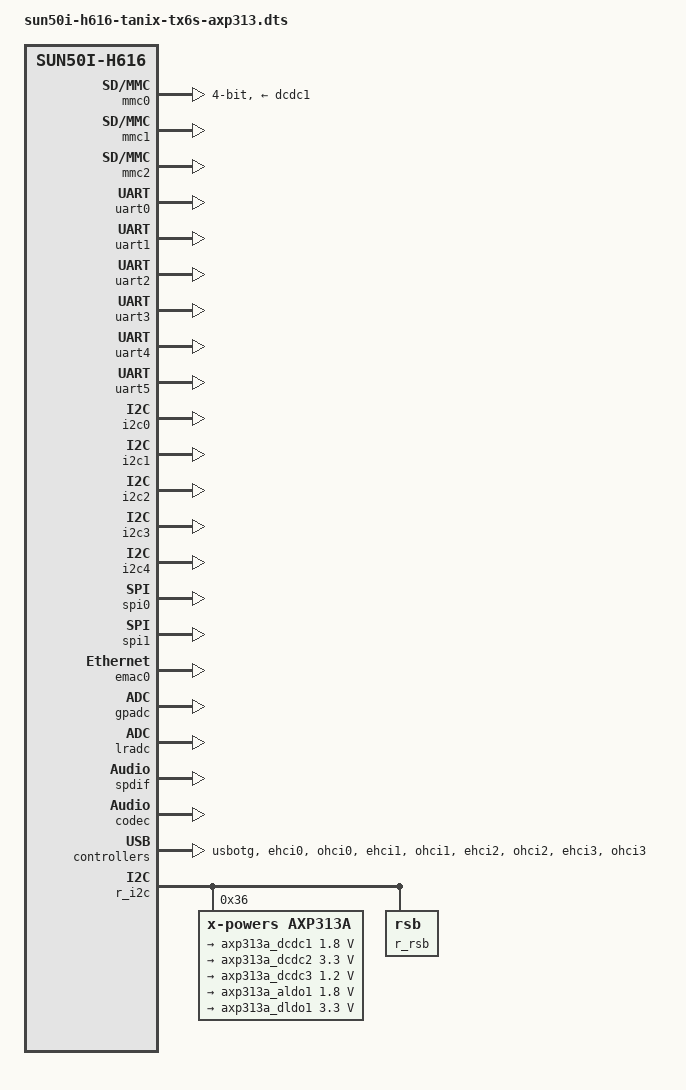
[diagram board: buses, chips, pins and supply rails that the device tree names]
// SPDX-License-Identifier: (GPL-2.0+ OR MIT)
// Copyright (C) 2020 Arm Ltd.
// based on the H6 dtsi, which is:
//   Copyright (C) 2017 Icenowy Zheng <icenowy@aosc.io>

#include <dt-bindings/interrupt-controller/arm-gic.h>
#include <dt-bindings/clock/sun50i-h616-ccu.h>
#include <dt-bindings/clock/sun50i-h6-r-ccu.h>
#include <dt-bindings/clock/sun6i-rtc.h>
#include <dt-bindings/reset/sun50i-h616-ccu.h>
#include <dt-bindings/reset/sun50i-h6-r-ccu.h>
#include <dt-bindings/thermal/thermal.h>

#include "sun50i-h616.dtsi" // incluindo o generico

/ {
	interrupt-parent = <&gic>;
	#address-cells = <2>;
	#size-cells = <2>;

	cpus {
		#address-cells = <1>;
		#size-cells = <0>;

		cpu0: cpu@0 {
		};

		cpu1: cpu@1 {
		};

		cpu2: cpu@2 {
		};

		cpu3: cpu@3 {
		};

		l2_cache: l2-cache {
		};
	};

	reserved-memory {
		};
	};

	osc24M: osc24M-clk {
	};

	pmu {
	};

	psci {
	};

	timer {
	};

	soc {

		gpu: gpu@1800000 {
			status = "okay";
		};

		crypto: crypto@1904000 {
		};

		syscon: syscon@3000000 {
			sram_c: sram@28000 {
			};
		};

		ccu: clock@3001000 {
		};

		dma: dma-controller@3002000 {
		};

		sid: efuse@3006000 {
			ths_calibration: thermal-sensor-calibration@14 {
			};

			cpu_speed_grade: cpu-speed-grade@0 {
			};
		};

		watchdog: watchdog@30090a0 {
		};

		pio: pinctrl@300b000 {
			ext_rgmii_pins: rgmii-pins {
				pins = "PI0", "PI1", "PI2", "PI3", "PI4",
				       "PI5", "PI7", "PI8", "PI9", "PI10",
				       "PI11", "PI12", "PI13", "PI14", "PI15",
				       "PI16";
				function = "emac0";
				drive-strength = <40>;
			};

			i2c0_pins: i2c0-pins {

			};

			i2c3_ph_pins: i2c3-ph-pins {

			};

			ir_rx_pin: ir-rx-pin {

			};

			mmc0_pins: mmc0-pins {
				pins = "PF0", "PF1", "PF2", "PF3",
				       "PF4", "PF5";
				function = "mmc0";
				drive-strength = <30>;
				bias-pull-up;
			};

			/omit-if-no-ref/
			mmc1_pins: mmc1-pins {
				pins = "PG0", "PG1", "PG2", "PG3",
				       "PG4", "PG5";
				function = "mmc1";
				drive-strength = <30>;
				bias-pull-up;
			};

			mmc2_pins: mmc2-pins {
				pins = "PC0", "PC1", "PC5", "PC6",
				       "PC8", "PC9", "PC10", "PC11",
				       "PC13", "PC14", "PC15", "PC16";
				function = "mmc2";
				drive-strength = <30>;
				bias-pull-up;
			};

			/omit-if-no-ref/
			spi0_pins: spi0-pins {
				pins = "PC0", "PC2", "PC4";
				function = "spi0";
			};

			/omit-if-no-ref/
			spi0_cs0_pin: spi0-cs0-pin {
				pins = "PC3";
				function = "spi0";
			};

			/omit-if-no-ref/
			spi1_pins: spi1-pins {
				pins = "PH6", "PH7", "PH8";
				function = "spi1";
			};

			/omit-if-no-ref/
			spi1_cs0_pin: spi1-cs0-pin {
				pins = "PH5";
				function = "spi1";
			};

			spdif_tx_pin: spdif-tx-pin {
				pins = "PH4";
				function = "spdif";
			};

			uart0_ph_pins: uart0-ph-pins {

			};

			/omit-if-no-ref/
			uart1_pins: uart1-pins {

			};

			/omit-if-no-ref/
			uart1_rts_cts_pins: uart1-rts-cts-pins {

			};

			/omit-if-no-ref/
			x32clk_fanout_pin: x32clk-fanout-pin {

			};
		};

		gic: interrupt-controller@3021000 {

		};

		iommu: iommu@30f0000 {

		};

		mmc0: mmc@4020000 {
			status = "okay";
			vmmc-supply = <&dcdc1>;
			broken-cd;
			bus-width = <0x04>;

		};

		mmc1: mmc@4021000 {
			status = "okay";
		};

		mmc2: mmc@4022000 {
			// memoria interna
			status = "okay";


		};

		uart0: serial@5000000 {
			status = "okay";
		};

		uart1: serial@5000400 {
			status = "okay";
		};

		uart2: serial@5000800 {
			status = "okay";
		};

		uart3: serial@5000c00 {
			status = "okay";
		};

		uart4: serial@5001000 {
			status = "okay";
		};

		uart5: serial@5001400 {
			status = "okay";
		};

		i2c0: i2c@5002000 {
			status = "okay";
		};

		i2c1: i2c@5002400 {
			status = "okay";
		};

		i2c2: i2c@5002800 {
			status = "okay";
		};

		i2c3: i2c@5002c00 {
			status = "okay";
		};

		i2c4: i2c@5003000 {
			status = "okay";
		};

		spi0: spi@5010000 {
			status = "okay";
		};

		spi1: spi@5011000 {
			status = "okay";
		};

		emac0: ethernet@5020000 {
			status = "okay";

			mdio0: mdio {

			};
		};

		gpadc: adc@5070000 {
			status = "okay";
		};

		ths: thermal-sensor@5070400 {
		};

		lradc: lradc@5070800 {
			status = "okay";
		};

		spdif: spdif@5093000 {
			status = "okay";
		};

		codec: codec@5096000 {
			status = "okay";
		};

		usbotg: usb@5100000 {
			status = "okay";
		};

		usbphy: phy@5100400 {
			status = "okay";
		};

		ehci0: usb@5101000 {
			status = "okay";
		};

		ohci0: usb@5101400 {
			status = "okay";
		};

		ehci1: usb@5200000 {
			status = "okay";
		};

		ohci1: usb@5200400 {
			status = "okay";
		};

		ehci2: usb@5310000 {
			status = "okay";
		};

		ohci2: usb@5310400 {
			status = "okay";
		};

		ehci3: usb@5311000 {
			status = "okay";
		};

		ohci3: usb@5311400 {
			status = "okay";
		};

		rtc: rtc@7000000 {

		};

		r_ccu: clock@7010000 {

		};

		prcm_ppu: power-controller@7010250 {
			compatible = "allwinner,sun50i-h616-prcm-ppu";
			reg = <0x07010250 0x10>;
			#power-domain-cells = <1>;
		};

		nmi_intc: interrupt-controller@7010320 {

		};

		r_pio: pinctrl@7022000 {

			/omit-if-no-ref/
			r_i2c_pins: r-i2c-pins {

			};

			r_rsb_pins: r-rsb-pins {

			};
		};

		ir: ir@7040000 {

			status = "okay";
		};

		r_i2c: i2c@7081400 {
			status = "okay";

			axp313a: pmic@36 {
				compatible = "x-powers,axp313a";
				reg = <0x36>;
				regulators {
					axp313a_dcdc1: dcdc1 {
						regulator-always-on;
						regulator-min-microvolt = <1800000>; // 1.8V
						regulator-max-microvolt = <1800000>;
						regulator-name = "vdd-emmc";
					};

					axp313a_dcdc2: dcdc2 {
						regulator-always-on;
						regulator-min-microvolt = <3300000>; // 3.3V
						regulator-max-microvolt = <3300000>;
						regulator-name = "vcc-emmc";
					};

					axp313a_dcdc3: dcdc3 {
						regulator-always-on;
						regulator-min-microvolt = <1200000>; // 1.2V
						regulator-max-microvolt = <1200000>;
						regulator-name = "vdd-core";
					};

					axp313a_aldo1: aldo1 {
						regulator-always-on;
						regulator-min-microvolt = <1800000>; // 1.8V
						regulator-max-microvolt = <1800000>;
						regulator-name = "vcc1v8";
					};

					axp313a_dldo1: dldo1 {
						regulator-always-on;
						regulator-min-microvolt = <0x325aa0>;
						regulator-max-microvolt = <0x325aa0>;
						regulator-name = "vcc3v3";
					};
				};
			}

		r_rsb: rsb@7083000 {
			status = "okay";
		};
	};

	thermal-zones {
		cpu-thermal {

			trips {
				cpu_threshold: cpu-trip-0 {

				};
				cpu_target: cpu-trip-1 {

				};
				cpu_critical: cpu-trip-2 {

				};
			};
		};

		gpu-thermal {

			trips {
				gpu_temp_critical: gpu-trip-0 {

				};
			};
		};

		ve-thermal {

			trips {
				ve_temp_critical: ve-trip-0 {

				};
			};
		};

		ddr-thermal {

			trips {
				ddr_temp_critical: ddr-trip-0 {

				};
			};
		};
	};
};
